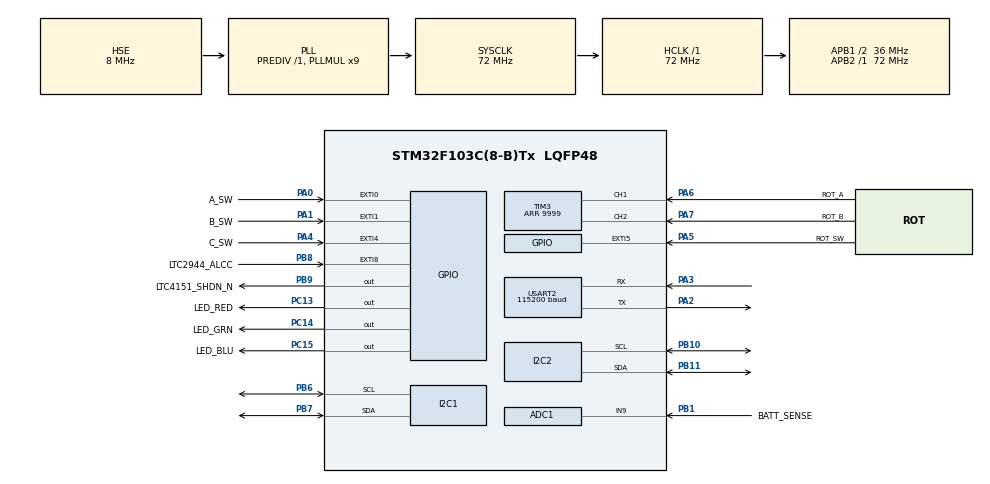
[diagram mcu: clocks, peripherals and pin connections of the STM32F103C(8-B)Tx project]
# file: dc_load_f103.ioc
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ADC1.Channel-3\#ChannelRegularConversion=ADC_CHANNEL_9
ADC1.ContinuousConvMode=ENABLE
ADC1.NbrOfConversion=1
ADC1.NbrOfConversionFlag=1
ADC1.Rank-3\#ChannelRegularConversion=1
ADC1.SamplingTime-3\#ChannelRegularConversion=ADC_SAMPLETIME_55CYCLES_5
ADC1.master=1
Dma.I2C1_TX.0.Direction=DMA_MEMORY_TO_PERIPH
Dma.I2C1_TX.0.Instance=DMA1_Channel6
Dma.I2C1_TX.0.MemDataAlignment=DMA_MDATAALIGN_BYTE
Dma.I2C1_TX.0.MemInc=DMA_MINC_ENABLE
Dma.I2C1_TX.0.Mode=DMA_NORMAL
Dma.I2C1_TX.0.PeriphDataAlignment=DMA_PDATAALIGN_BYTE
Dma.I2C1_TX.0.PeriphInc=DMA_PINC_DISABLE
Dma.I2C1_TX.0.Priority=DMA_PRIORITY_LOW
Dma.Request0=I2C1_TX
I2C2.I2C_Mode=I2C_Fast
Mcu.Family=STM32F1
Mcu.Name=STM32F103C(8-B)Tx
Mcu.Package=LQFP48
NVIC.DMA1_Channel6_IRQn=true\:0\:0\:false\:false\:true\:false\:true\:true
NVIC.EXTI0_IRQn=true\:0\:0\:false\:false\:true\:true\:true\:true
NVIC.EXTI1_IRQn=true\:0\:0\:false\:false\:true\:true\:true\:true
NVIC.EXTI4_IRQn=true\:0\:0\:false\:false\:true\:true\:true\:true
NVIC.EXTI9_5_IRQn=true\:0\:0\:false\:false\:true\:true\:true\:true
NVIC.I2C1_EV_IRQn=true\:0\:0\:false\:false\:true\:true\:true\:true
NVIC.PriorityGroup=NVIC_PRIORITYGROUP_4
NVIC.TIM3_IRQn=true\:0\:0\:false\:false\:true\:true\:true\:true
PA0-WKUP.GPIO_Label=A_SW
PA0-WKUP.Signal=GPXTI0
PA1.GPIO_Label=B_SW
PA1.Signal=GPXTI1
PA13.Mode=Serial_Wire
PA13.Signal=SYS_JTMS-SWDIO
PA14.Mode=Serial_Wire
PA14.Signal=SYS_JTCK-SWCLK
PA2.Mode=Asynchronous
PA2.Signal=USART2_TX
PA3.Mode=Asynchronous
PA3.Signal=USART2_RX
PA4.GPIO_Label=C_SW
PA4.Signal=GPXTI4
PA5.GPIO_Label=ROT_SW
PA5.GPIO_ModeDefaultEXTI=GPIO_MODE_IT_RISING
PA5.Signal=GPXTI5
PA6.GPIO_Label=ROT_A
PA6.Signal=S_TIM3_CH1
PA7.GPIO_Label=ROT_B
PA7.Signal=S_TIM3_CH2
PB1.GPIO_Label=BATT_SENSE
PB1.Signal=ADCx_IN9
PB10.Mode=I2C
PB10.Signal=I2C2_SCL
PB11.Mode=I2C
PB11.Signal=I2C2_SDA
PB6.Mode=I2C
PB6.Signal=I2C1_SCL
PB7.Mode=I2C
PB7.Signal=I2C1_SDA
PB8.GPIO_Label=LTC2944_ALCC
PB8.GPIO_ModeDefaultEXTI=GPIO_MODE_IT_FALLING
PB8.GPIO_PuPd=GPIO_PULLUP
PB8.Signal=GPXTI8
PB9.GPIO_Label=LTC4151_SHDN_N
PB9.Signal=GPIO_Output
PC13-TAMPER-RTC.GPIO_Label=LED_RED
PC13-TAMPER-RTC.Signal=GPIO_Output
PC14-OSC32_IN.GPIO_Label=LED_GRN
PC14-OSC32_IN.Signal=GPIO_Output
PC15-OSC32_OUT.GPIO_Label=LED_BLU
PC15-OSC32_OUT.Signal=GPIO_Output
PD0-OSC_IN.Mode=HSE-External-Oscillator
PD0-OSC_IN.Signal=RCC_OSC_IN
PD1-OSC_OUT.Mode=HSE-External-Oscillator
PD1-OSC_OUT.Signal=RCC_OSC_OUT
ProjectManager.HeapSize=0x200
ProjectManager.StackSize=0x400
ProjectManager.TargetToolchain=STM32CubeIDE
RCC.ADCPresc=RCC_ADCPCLK2_DIV6
RCC.AHBFreq_Value=72000000
RCC.APB1CLKDivider=RCC_HCLK_DIV2
RCC.APB1Freq_Value=36000000
RCC.APB1TimFreq_Value=72000000
RCC.APB2Freq_Value=72000000
RCC.APB2TimFreq_Value=72000000
RCC.HCLKFreq_Value=72000000
RCC.PLLMUL=RCC_PLL_MUL9
RCC.PLLSourceVirtual=RCC_PLLSOURCE_HSE
RCC.SYSCLKFreq_VALUE=72000000
RCC.SYSCLKSource=RCC_SYSCLKSOURCE_PLLCLK
RCC.USBFreq_Value=72000000
SH.ADCx_IN9.0=ADC1_IN9,IN9
SH.S_TIM3_CH1.0=TIM3_CH1,Encoder_Interface
SH.S_TIM3_CH2.0=TIM3_CH2,Encoder_Interface
TIM3.EncoderMode=TIM_ENCODERMODE_TI12
TIM3.IC1Filter=10
TIM3.Period=9999
USART2.BaudRate=115200
USART2.VirtualMode=VM_ASYNC
board=custom

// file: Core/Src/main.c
/* USER CODE BEGIN Header */
/**
  ******************************************************************************
  * @file           : main.c
  * @brief          : Main program body
  ******************************************************************************
  * @attention
  *
  * Copyright (c) 2023 STMicroelectronics.
  * All rights reserved.
  *
  * This software is licensed under terms that can be found in the LICENSE file
  * in the root directory of this software component.
  * If no LICENSE file comes with this software, it is provided AS-IS.
  *
  ******************************************************************************
  */
/* USER CODE END Header */
#include "main.h"
#include "adc.h"
#include "dma.h"
#include "i2c.h"
#include "tim.h"
#include "usart.h"
#include "gpio.h"

/* USER CODE BEGIN Includes */
#include <stdbool.h>
#include <stdio.h>
#include <string.h>
#include "../../ssd1306_oled_lib/inc/ssd1306.h"
#include "../../ssd1306_oled_lib/inc/ssd1306_tests.h"
//#include "../../ltc2944/ltc2944.h"
//#include "../../ltc4151/ltc4151.h"
#include "../../mcp4725/mcp4725.h"
#include "../../pid/pid.h"
#include "../../ltc2959/ltc2959.h"
#include "../../ad5693/ad5693.h"
#include "../../filter/filter.h"

/* USER CODE END Includes */

/* USER CODE BEGIN PD */
/*
 * MAXIMUM AND MINIMUM SETTINGS FOR LOAD
 */
#define MAX_CC_VALUE			5			// 5A maximum current
#define MIN_CC_VALUE			0.001		// 1mA minimum	current
#define MAX_CV_VALUE			30			// 30V maximum voltage
#define MIN_CV_VALUE			3			// 3V minimum voltage
#define MAX_CR_VALUE			10			// 10Ohm maximum resistance
#define MIN_CR_VALUE			0.1			// 100mOhm minimum resistance
#define MAX_CP_VALUE			99.999		// 99.999W maximum power CP is limited to 99.999Watt
#define MIN_CP_VALUE			1			// 1W minimum power

#define MAX_DIGITS 				6

/* USER CODE END PD */

/* USER CODE BEGIN PV */
uint32_t tick, prev_tick = 0;
uint16_t blink_delay = 50;
char stringValue[8];  // Adjust the buffer size as needed
int32_t curr, current = 0, filter_current = 0;
uint16_t sense_resistor = 5;		//8 milli-ohms
uint32_t voltage = 0, charge = 0;
int16_t temperature = 0;
uint8_t i, ret, i2c_add;
uint32_t desired_value, measured_value = 0;
MCP4725 myMCP4725;
uint16_t next_voltage;

uint16_t sec_prev = 0, seconds = 0;
uint8_t state;
uint8_t buf[2], status;
uint16_t control_volt;
uint32_t prev_print_delay = 0, print_delay = 100;
uint32_t prev_control_delay = 0, control_delay = 10;
bool battery_detect = false ;
uint32_t sensor_data[10];
uint8_t temp_val[6] = {5};

LTC2959_Config_t ltc2959 = {
    .ADC_mode		= 	CTRL_ADC_MODE_CONT_I,
    .GPIO_config 	= 	CTRL_GPIO_CONFIG_ANALOG_INPUT_1560mV,
    .voltage_input 	= 	CTRL_CONFIG_VOLTAGE_INPUT_SENSEN,
    .CC_deadband 	= 	CC_CONFIG_DEADBAND_20,
};

ad5693_configuration_t ad5693 = {
		.gain_x2 		= false,
		.ref_disable	= false,
		.mode 		= normal_mode,
};

// Define menu states
typedef enum {
	HOME_SCREEN,
	MODE_SELECTION,
	PARAMETER_SETTING,
	RETURN_TO_HOME
} Menu_State_e;

typedef struct {
	float voltage;
	float current;
	float power;
	float resistance;
} Param_Mode_t;

typedef struct {
	uint16_t set_voltage;
	uint16_t set_current;
	uint16_t set_power;
	uint16_t set_resistance;
} Set_Param_t;

Param_Mode_t param_mode = {0};
Set_Param_t set_param = {0};

Menu_State_e current_state = HOME_SCREEN;

uint32_t rotary_out, rot_pos, rot_cnt;

int cursor_position = 0;
int mode_index = -1;  // Store the index of mode setting
int mode_index_last = -1;
int last_cursor_position = -1;

float param_value = 0;
uint8_t digit_position = 0;
int last_rot_cnt = 0;
uint16_t sw_a_cnt = 0, sw_b_cnt = 0, sw_c_cnt = 0;
bool sw_rot_state = false,
		sw_a_state = false,
		sw_b_state = false,
		sw_c_state = false;
bool save_param = false;
bool adjusting_digit = false; // Flag to check if adjusting digit
volatile uint8_t digit_value = 0;
bool output_on_flag = false;
bool force_update;

uint16_t new_rot_pos, new_a_cnt ,new_b_cnt;
static uint16_t old_a_cnt = 0, old_b_cnt = 0, old_rot_pos = 0;

// 'ON', 140x81px
const unsigned char ON_BITMAP[] = { 0xff, 0xff, 0xff, 0xf8, 0xff, 0xff, 0xff,
		0xf8, 0xf8, 0x1f, 0x1f, 0x38, 0xf0, 0x0f, 0x0f, 0x38, 0xe1, 0xc7, 0x07,
		0x38, 0xe7, 0xe7, 0x07, 0x38, 0xc7, 0xe3, 0x03, 0x38, 0xc7, 0xe3, 0x23,
		0x38, 0xc7, 0xe3, 0x31, 0x38, 0xc7, 0xe3, 0x31, 0x38, 0xc7, 0xe3, 0x38,
		0x38, 0xc7, 0xe7, 0x38, 0x38, 0xe3, 0xc7, 0x3c, 0x38, 0xe0, 0x0f, 0x3e,
		0x38, 0xf8, 0x1f, 0x3e, 0x38, 0xff, 0xff, 0xff, 0xf8, 0xff, 0xff, 0xff,
		0xf8 };

// 'OFF', 29x16px
const unsigned char OFF_BITMAP[] = { 0xff, 0xff, 0xff, 0xf8, 0xff, 0xff, 0xff,
		0xf8, 0xe0, 0x78, 0x08, 0x08, 0xc0, 0x38, 0x08, 0x08, 0x87, 0x18, 0xf8,
		0xf8, 0x8f, 0x18, 0xf8, 0xf8, 0x8f, 0x88, 0xf8, 0xf8, 0x8f, 0x88, 0x18,
		0x18, 0x8f, 0x88, 0x18, 0x18, 0x8f, 0x98, 0xf8, 0xf8, 0x8f, 0x18, 0xf8,
		0xf8, 0x80, 0x18, 0xf8, 0xf8, 0xc0, 0x38, 0xf8, 0xf8, 0xf0, 0xf9, 0xfd,
		0xf8, 0xff, 0xff, 0xff, 0xf8, 0xff, 0xff, 0xff, 0xf8 };

/* USER CODE END PV */

void SystemClock_Config(void);
/* USER CODE BEGIN PFP */
void myOLED_char(uint16_t cursorX, uint16_t cursorY, char* data);
void myOLED_float(uint16_t cursorX, uint16_t cursorY, float data);
void myOLED_int16(uint16_t cursorX, uint16_t cursorY, uint16_t data);
void myOLED_int8(uint16_t cursorX, uint16_t cursorY, uint8_t data);
uint32_t Filter_Outliers(uint32_t* data, uint16_t length);

// Function Prototypes
void display_home_screen(bool force_update);
void display_mode_selection(bool force_update);
void display_parameter_setting(bool force_update);
void update_encoder_state();
void handle_button_press();
void update_display();
void update_digit_value(int direction);
void update_parameter_value(int direction); // function to update parameter value
void put_parameter_limit(void);				// put limit on parameter values
void Reset_Everything(void);
uint32_t concatenate(uint32_t x, uint32_t y);	// Concateate numbers

typedef enum
{
	IDLE 		= 0,
	BATT_CONN	= 1,
	RUN			= 2,
}device_state_t;

// UART printf stuff
#ifdef __GNUC__
#define PUTCHAR_PROTOTYPE int __io_putchar(int ch)
#else
#define PUTCHAR_PROTOTYPE int fputc(int ch, FILE *f)
#endif

PUTCHAR_PROTOTYPE
{
  HAL_UART_Transmit(&huart2, (uint8_t *)&ch, 1, HAL_MAX_DELAY);
  return ch;
}

/* USER CODE END PFP */

int main(void)
{

  /* MCU Configuration--------------------------------------------------------*/

  /* Reset of all peripherals, Initializes the Flash interface and the Systick. */
  HAL_Init();

  /* Configure the system clock */
  SystemClock_Config();

  /* Initialize all configured peripherals */
  MX_GPIO_Init();
  MX_DMA_Init();
  MX_I2C2_Init();
  MX_I2C1_Init();
  MX_ADC1_Init();
  MX_USART2_UART_Init();
  MX_TIM3_Init();
  /* USER CODE BEGIN 2 */
  HAL_TIM_Encoder_Start_IT(&htim3, TIM_CHANNEL_ALL);

  ssd1306_Init();
  HAL_ADCEx_Calibration_Start(&hadc1);
  HAL_Delay(100);
  HAL_ADC_Start(&hadc1);

  printf("LTC2959 Begin\n\r");
//  while(HAL_I2C_IsDeviceReady(&LTC2959_I2C_PORT, LTC2959_I2C_ADDR, 100, 1000) != HAL_OK);	// wait for it to come alive
  LTC2959_Init(&ltc2959);
  HAL_Delay(100);

  AD5693_Reset();
  HAL_Delay(10);
  AD5693_Init(ad5693);
  HAL_Delay(10);

//  myOLED_char(1, 12, "Volt = ");
//  myOLED_char(1, 24, "Curr = ");
//  myOLED_char(1, 36, "Chg  = ");
//  myOLED_char(1, 48, "Temp = ");
  ssd1306_UpdateScreen();
  HAL_Delay(100);

//  for(i = 1; i < 127; i++){
//	  ret = HAL_I2C_IsDeviceReady(&hi2c1, (uint16_t)(i), 3, 5);
//	  if (ret == HAL_OK) /* No ACK Received At That Address */
//	  {
//		  printf("%x \n\r", i);
//		  i2c_add = i;
//		  HAL_Delay(1000);
//	  }
//  	}	  HAL_Delay(20000);

  /* USER CODE END 2 */

  /* Infinite loop */
  /* USER CODE BEGIN WHILE */

  printf("RUNNING\n");
//  printf("%ld\n", concatenate(12,354));

  while (1)
  {
	  tick = HAL_GetTick();

	  update_display();
	  update_encoder_state();
	  handle_button_press();
	  set_param.set_current = param_mode.current * 1000;

//	  myOLED_int16(1, 2, tick);
    /* USER CODE END WHILE */

    /* USER CODE BEGIN 3 */
	  HAL_ADC_PollForConversion(&hadc1, 10);
  	  if(HAL_ADC_GetValue(&hadc1) >= 200){
  		  battery_detect = true;
  	  }else if(HAL_ADC_GetValue(&hadc1) < 200){
  		  battery_detect = false;
  	  }

      for (uint8_t i = 0; i < 10; i++) {
          sensor_data[i] = LTC2959_Get_Current();
      }

	  current = LTC2959_Get_Current();
  	  filter_current = Get_Current_Filtered(current);

/*
      if(tick - prev_control_delay >= control_delay){
		  voltage = LTC2959_Get_Voltage();
		  current = LTC2959_Get_Current();
		  charge = LTC2959_Get_Acc_Charge();
		  control_volt = Control_DAC_Output(500, current, battery_detect);
		  AD5693_Set_Voltage_Raw(control_volt);
		  prev_control_delay = tick;
	  }
*/

	  switch(state){
	  case IDLE:
		  if(battery_detect){
			  state = BATT_CONN;
		  }else{
			  HAL_GPIO_WritePin(LED_RED_GPIO_Port, LED_RED_Pin, RESET);
			  myOLED_char(50, 24, "        ");	// print empty spaces in curr
			  myOLED_char(50, 36, "       ");	// print empty spaces in chg
			  myOLED_char(50, 48, "  ");		// print empty spaces in temp
			  myOLED_int8(50, 2, 0);
			  // Resets the seconds count every time battery is removed
			  if(seconds > 1){
				  seconds = 0;
			  }
		  }
		  break;

	  case BATT_CONN:
		  HAL_GPIO_WritePin(LED_RED_GPIO_Port, LED_RED_Pin, SET); 		// Turn on RED led for indication
		  state = RUN;
		  break;

	  case RUN:
		  /*
		  * test timer for run condition
		  */
		  if(tick - sec_prev >= 1000){		// 1000ms = 1 sec
			  sec_prev = tick;
			  myOLED_int16(50, 2, seconds++);
		  }
		  if(battery_detect){
			  // print the battery values on oled screen
				  break;
//			  }
		  }else{
			  state = IDLE;
		  }
		  break;

	  default:
	  }

	  if(tick - prev_tick >= blink_delay){
		  prev_tick = tick;
		  HAL_GPIO_TogglePin(LED_BLU_GPIO_Port, LED_BLU_Pin);
	  }
  }

  /* USER CODE END 3 */
}

void SystemClock_Config(void)
{
  RCC_OscInitTypeDef RCC_OscInitStruct = {0};
  RCC_ClkInitTypeDef RCC_ClkInitStruct = {0};
  RCC_PeriphCLKInitTypeDef PeriphClkInit = {0};

  /** Initializes the RCC Oscillators according to the specified parameters
  * in the RCC_OscInitTypeDef structure.
  */
  RCC_OscInitStruct.OscillatorType = RCC_OSCILLATORTYPE_HSE;
  RCC_OscInitStruct.HSEState = RCC_HSE_ON;
  RCC_OscInitStruct.HSEPredivValue = RCC_HSE_PREDIV_DIV1;
  RCC_OscInitStruct.HSIState = RCC_HSI_ON;
  RCC_OscInitStruct.PLL.PLLState = RCC_PLL_ON;
  RCC_OscInitStruct.PLL.PLLSource = RCC_PLLSOURCE_HSE;
  RCC_OscInitStruct.PLL.PLLMUL = RCC_PLL_MUL9;
  if (HAL_RCC_OscConfig(&RCC_OscInitStruct) != HAL_OK)
  {
    Error_Handler();
  }

  /** Initializes the CPU, AHB and APB buses clocks
  */
  RCC_ClkInitStruct.ClockType = RCC_CLOCKTYPE_HCLK|RCC_CLOCKTYPE_SYSCLK
                              |RCC_CLOCKTYPE_PCLK1|RCC_CLOCKTYPE_PCLK2;
  RCC_ClkInitStruct.SYSCLKSource = RCC_SYSCLKSOURCE_PLLCLK;
  RCC_ClkInitStruct.AHBCLKDivider = RCC_SYSCLK_DIV1;
  RCC_ClkInitStruct.APB1CLKDivider = RCC_HCLK_DIV2;
  RCC_ClkInitStruct.APB2CLKDivider = RCC_HCLK_DIV1;

  if (HAL_RCC_ClockConfig(&RCC_ClkInitStruct, FLASH_LATENCY_2) != HAL_OK)
  {
    Error_Handler();
  }
  PeriphClkInit.PeriphClockSelection = RCC_PERIPHCLK_ADC;
  PeriphClkInit.AdcClockSelection = RCC_ADCPCLK2_DIV6;
  if (HAL_RCCEx_PeriphCLKConfig(&PeriphClkInit) != HAL_OK)
  {
    Error_Handler();
  }
}

/* USER CODE BEGIN 4 */

void HAL_TIM_IC_CaptureCallback(TIM_HandleTypeDef *htim){
	rotary_out = __HAL_TIM_GET_COUNTER(htim);
	rot_cnt = rotary_out / 4;
}

void HAL_GPIO_EXTI_Callback(uint16_t GPIO_Pin){
	switch(GPIO_Pin){
	case ROT_SW_Pin:
		sw_rot_state = true;
		if(current_state == PARAMETER_SETTING){
			save_param = true;	 	// raise the flag for saving param
		}else{
			save_param = false;
		}
		break;
	case A_SW_Pin:
		sw_a_state = true;
		sw_a_cnt++;
		break;
	case B_SW_Pin:
		sw_b_state = true;
		sw_b_cnt++;
		break;
	case C_SW_Pin:
		sw_c_state = true;
		sw_c_cnt++;
		break;
	default:
		break;
	}
}

void myOLED_char(uint16_t cursorX, uint16_t cursorY, char *data){

	ssd1306_SetCursor(cursorX, cursorY);
	ssd1306_WriteString(data, Font_7x10, White);
}

void myOLED_char_big(uint16_t cursorX, uint16_t cursorY, char *data){

	ssd1306_SetCursor(cursorX, cursorY);
	ssd1306_WriteString(data, Font_11x18, White);
}

void myOLED_float(uint16_t cursorX, uint16_t cursorY, float data){
	char str_data[10];

	sprintf(str_data, "%.3f", data);
	ssd1306_SetCursor(cursorX, cursorY);
	ssd1306_WriteString(str_data, Font_7x10, White);
}

void myOLED_float_big(uint16_t cursorX, uint16_t cursorY, float data){
	char str_data[10];

	sprintf(str_data, "%.3f", data);
	ssd1306_SetCursor(cursorX, cursorY);
	ssd1306_WriteString(str_data, Font_11x18, White);
}

void myOLED_int16(uint16_t cursorX, uint16_t cursorY, uint16_t data){
	char str_data[10];

	sprintf(str_data, "%u", data);
	ssd1306_SetCursor(cursorX, cursorY);
	ssd1306_WriteString(str_data, Font_7x10, White);
}

void myOLED_int8(uint16_t cursorX, uint16_t cursorY, uint8_t data){
	char str_data[10];

	sprintf(str_data, "%d", data);
	ssd1306_SetCursor(cursorX, cursorY);
	ssd1306_WriteString(str_data, Font_7x10, White);
}

// Update Display
void update_display(){
	static Menu_State_e last_state = HOME_SCREEN;
	static bool first_update = true;
	force_update = (current_state != last_state) || first_update || !output_on_flag;

	if(force_update){
		last_state = current_state;
		last_cursor_position = -1; // Force full update on state change
		first_update = false;
	}

	// Handle cursor position updates separately
	bool cursor_changed = (cursor_position != last_cursor_position);

	switch(current_state){
	case HOME_SCREEN:
		display_home_screen(force_update || cursor_changed);
		break;
	case MODE_SELECTION:
		display_mode_selection(force_update || cursor_changed);
		break;
	case PARAMETER_SETTING:
		display_parameter_setting(force_update || cursor_changed);
		break;
	case RETURN_TO_HOME:
		current_state = HOME_SCREEN;
		break;
	default:
		break;
	}
	last_cursor_position = cursor_position;
}

// Display Home Screen
void display_home_screen(bool force_update){
	if(force_update || output_on_flag){
		ssd1306_Fill(Black);			// Clear the display before printing
		myOLED_char_big(0, 0, "V:");
		myOLED_float_big(21, 0, voltage);
		myOLED_char_big(0, 18, "C:");
		myOLED_float_big(21, 18, curr);
		myOLED_char_big(0, 36, "Q:");
		myOLED_float_big(21, 36, charge);
		myOLED_char(0, 54, "t:");
		myOLED_int16(15, 54, temperature);
		ssd1306_Line(78, 0, 78, 50, White);	// Draw line to separate the values and options
		myOLED_char(90, 0, "<SET>");			// SET MODE
		myOLED_char(90, 10, "<ON>");			// Turn ON LOAD
		myOLED_char(90, 20, "<RST>");			// Reset the LOAD

		// Show ON or OFF bitmap on display for LOAD status
		if(output_on_flag){
//			output_on_flag = false;									// Change the flag state
			myOLED_char(90, 10, "<OFF>");							// Print OFF in ON position if button is pressed
			ssd1306_DrawBitmap(90, 31, ON_BITMAP, 29, 16, White);	//	Draw ON bitmap
		}else{
			ssd1306_DrawBitmap(90, 31, OFF_BITMAP, 29, 16, White);	// Draw OFF bitmap
		}
	}

	// Update cursor only
	uint8_t scroll_num = 3;
	for(int i = 0; i < scroll_num; i++){
		if(i == cursor_position){
			myOLED_char(82, i * 10, ">");
		}else{
			myOLED_char(82, i * 10, " ");
		}
	}

	// Display the param value and mode if it is set
	if(((current_state == HOME_SCREEN) || save_param) || force_update){
		uint8_t x_mode = 50;
		uint8_t y_mode = 54;
		uint8_t x_val = 80;
		uint8_t y_val = 54;

		ssd1306_Line(45, y_mode, 45, 64, White);		// Draw line
		switch(mode_index){
		case 0:
			myOLED_char(x_mode, y_mode, "CC:");
			myOLED_float(x_val, y_val, param_mode.current);
			break;
		case 1:
			myOLED_char(x_mode, y_mode, "CV:");
			myOLED_float(x_val, y_val, param_mode.voltage);
			break;
		case 2:
			myOLED_char(x_mode, y_mode, "CP:");
			myOLED_float(x_val, y_val, param_mode.power);
			break;
		case 3:
			myOLED_char(x_mode, y_mode, "CR:");
			myOLED_float(x_val, y_val, param_mode.resistance);
			break;
		default:
			break;
		}
	}

	ssd1306_UpdateScreen();
}

// Display Mode Selection Screen
void display_mode_selection(bool force_update){
	const char *modes[] = { "CC", "CV", "CP", "CR" };
	if(force_update){
		ssd1306_Fill(Black); // Clear the screen
		for(int i = 0; i < 4; i++){
			myOLED_char(15, i * 10, (char*) modes[i]); // Print modes in column
		}
	}

	// Update cursor only
	uint8_t num_of_modes = 4;
	for(int i = 0; i < num_of_modes; i++){
		if(i == cursor_position){
			myOLED_char(0, i * 10, "->");
		}else{
			myOLED_char(0, i * 10, "  ");
		}
	}

	myOLED_char(5, 50, "<SELECT THE MODE>");
	ssd1306_UpdateScreen();
}

void display_parameter_setting(bool force_update){
	if(force_update){
		// Redraw entire screen if forced
		ssd1306_Fill(Black);
		myOLED_char(5, 0, "Set Value:");

		// Check the state and print the mode in parameter setting screen
		if(current_state == PARAMETER_SETTING){
			myOLED_char(5, 42, "MIN:");
			myOLED_char(5, 52, "MAX:");
			switch(mode_index){
			case 0:
				myOLED_char(70, 0, "CC");
				myOLED_char(70, 20, "mAmp");
				myOLED_float(35, 42, (float)MIN_CC_VALUE);
				myOLED_float(35, 52, (float)MAX_CC_VALUE);
				break;
			case 1:
				myOLED_char(70, 0, "CV");
				myOLED_char(70, 20, "Volt");
				myOLED_float(35, 42, (float)MIN_CV_VALUE);
				myOLED_float(35, 52, (float)MAX_CV_VALUE);
				break;
			case 2:
				myOLED_char(70, 0, "CP");
				myOLED_char(70, 20, "Watt");
				myOLED_float(35, 42, (float)MIN_CP_VALUE);
				myOLED_float(35, 52, (float)MAX_CP_VALUE);
				break;
			case 3:
				myOLED_char(70, 0, "CR");
				myOLED_char(70, 20, "Ohm");
				myOLED_float(35, 42, (float)MIN_CR_VALUE);
				myOLED_float(35, 52, (float)MAX_CR_VALUE);
				break;
			default:
				break;
			}
		}
	}

//	temp_val[0] =
//	float display_value;

//	for(uint8_t i = 0; i < sizeof(temp_val); i++){
//		for(uint8_t j = 1; j <= sizeof(temp_val); j++){
//			myOLED_int8(7*j, 20, temp_val[0]);
//		}
//	}

//	myOLED_int16(5, 20, display_value);
//	printf("display value: %d", display_value);
	// Display the value with proper formatting
	if(param_value >= 10.000){
		myOLED_float(0, 20, param_value);
	}else{
		myOLED_float(7, 20, param_value);
		myOLED_int16(0, 20, 0);  // Print "0" at the first location
	}

	// Clear previous cursor position by redrawing the entire line
	myOLED_char(0, 30, "         ");
	// Draw cursor under the digit
	uint8_t cursor_x;
	cursor_x = digit_position * 7;		// 7 pixels width per character
	myOLED_char(cursor_x , 30, "^");  	// Draw the cursor

	// Refresh the display after updating
	ssd1306_UpdateScreen();
}

// Update Encoder State
void update_encoder_state(){
	new_rot_pos = rot_cnt;

	if(new_rot_pos > old_rot_pos){
		if(current_state == PARAMETER_SETTING){
			if(adjusting_digit){
				update_parameter_value(1); // Increment digit
			}
		}else{
			cursor_position++;
		}
	}else if(new_rot_pos < old_rot_pos){
		if(current_state == PARAMETER_SETTING){
			if(adjusting_digit){
				update_parameter_value(-1); // Decrement digit
			}
		}else{
			cursor_position--;
		}
	}
	old_rot_pos = new_rot_pos;

	// Put limit on parameters and assign param_value
	// to specified mode
	put_parameter_limit();

	printf("param_value limit: %f\n\r\v", param_value);

	// putting limits
	if(cursor_position < 0)
		cursor_position = 0;
	if(current_state == HOME_SCREEN && cursor_position > 2)
		cursor_position = 2;
	if(current_state == MODE_SELECTION && cursor_position > 3)
		cursor_position = 3;
	if(current_state == PARAMETER_SETTING && digit_position > MAX_DIGITS)
		digit_position = 0;
}

void update_parameter_value(int direction) {
    // Convert the whole value to an integer, treating it as 00.000
    int full_value = (int)(param_value * 1000);

    // Extract individual digits
    int digits[5]; // [tens, ones, tenths, hundredths, thousandths]
    digits[0] = (full_value / 10000) % 10;     // tens
    digits[1] = (full_value / 1000) % 10;      // ones
    digits[2] = (full_value / 100) % 10;       // tenths
    digits[3] = (full_value / 10) % 10;        // hundredths
    digits[4] = full_value % 10;               // thousandths

    // Skip if we're at the decimal point position
    if (digit_position == 2) {
        return;
    }

    // Map cursor position to array index
    int digit_index = (digit_position < 2) ? digit_position : digit_position - 1;

    // Update the selected digit
    digits[digit_index] += direction;

    // Handle propagation and wrapping
    for (int i = digit_index; i >= 0; i--) {
        if (digits[i] > 9) {
            digits[i] = 0;
            if (i > 0) {
                digits[i-1]++;  // Carry over to the next digit
            }
        } else if (digits[i] < 0) {
            digits[i] = 9;
            if (i > 0) {
                digits[i-1]--;  // Borrow from the next digit
            }
        } else {
            break;  // Stop if no further propagation needed
        }
    }

    // Reconstruct the value
    full_value = digits[0] * 10000 +
                 digits[1] * 1000 +
                 digits[2] * 100 +
                 digits[3] * 10 +
                 digits[4];

    printf("full_value: %d\n\r", full_value);
    // Convert back to floating-point
    param_value = full_value / 1000.0;
}

// Put limit on parameter value
void put_parameter_limit(){
	// RESET the param_value if mode is changed
	if(mode_index_last != mode_index){
		param_value = 0;
		mode_index_last = mode_index;
	}

	// check the MIN and MAX value of each mode to set limits on the value.
	if(current_state == PARAMETER_SETTING){
		switch(mode_index){
		case 0:
			if(param_value >= MAX_CC_VALUE){
				param_value = MAX_CC_VALUE;
			}else if(param_value <= MIN_CC_VALUE){
				param_value = MIN_CC_VALUE;
			}
			if(save_param){
				param_mode.current = param_value;
				printf("current: %f\n\r", param_mode.current);

			}
			break;
		case 1:
			if(param_value >= MAX_CV_VALUE){
				param_value = MAX_CV_VALUE;
			}else if(param_value <= MIN_CV_VALUE){
				param_value = MIN_CV_VALUE;
			}
			if(save_param){
				param_mode.voltage = param_value;
				printf("voltage: %f\n\r", param_mode.voltage);
			}
			break;
		case 2:
			if(param_value >= MAX_CP_VALUE){
				param_value = MAX_CP_VALUE;
			}else if(param_value <= MIN_CP_VALUE){
				param_value = MIN_CP_VALUE;
			}
			if(save_param){
				param_mode.power = param_value;
				printf("power: %f\n\r", param_mode.power);}
			break;
		case 3:
			if(param_value >= MAX_CR_VALUE){
				param_value = MAX_CR_VALUE;
			}else if(param_value <= MIN_CR_VALUE){
				param_value = MIN_CR_VALUE;
			}
			if(save_param){
				param_mode.resistance= param_value;
				printf("resistance: %f\n\r", param_mode.resistance);
			}
			break;
		default:
			break;
		}
	}
}

void handle_button_press(){
	new_a_cnt = sw_a_cnt;
	new_b_cnt = sw_b_cnt;

	// Handle the EXIT button
	if(sw_c_state){
		if((current_state == MODE_SELECTION )||(current_state == PARAMETER_SETTING)){
			current_state = HOME_SCREEN;
			save_param = false;
			sw_c_state = false;
			Reset_Everything();
		}else if((current_state == HOME_SCREEN) && (cursor_position == 1)){
			Reset_Everything();
			sw_c_state = false;
		}
	}

	if(sw_rot_state){
		switch(current_state){
		case HOME_SCREEN:
			if(cursor_position == 0){
				current_state = MODE_SELECTION;		// GoTo MODE SELECTION PAGE
				output_on_flag = false;				// turn off when page is changed
			}else if((cursor_position == 1) && (!output_on_flag)){
				output_on_flag = true;
				// Handle "TURN ON" functionality
			}else if((cursor_position == 1) && output_on_flag){
				output_on_flag = false;
				force_update = true;
				// Handle "TURN ON" functionality
			}else if(cursor_position == 2){		// Reset everything
				Reset_Everything();
			}
			adjusting_digit = false;			// Disable adjusting in param setting
			break;
		case MODE_SELECTION:
			current_state = PARAMETER_SETTING;			// go to next state
			mode_index = cursor_position;
			cursor_position = 0;
			digit_position = 0;
			adjusting_digit = false;
			break;
		case PARAMETER_SETTING:
//			if(sw_rot_state){		// Return to home by saving param value
			current_state = RETURN_TO_HOME;
			digit_position = 0;
//			save_param = false;
//			}
			break;
		default:
			break;
		}
		sw_rot_state = false; // Reset button state
	}

	// Move cursor under the digits
	if(current_state == PARAMETER_SETTING) {
		adjusting_digit = true;
	}else adjusting_digit = false;

	if(new_b_cnt > old_b_cnt){
		digit_position++;
	}else if(new_a_cnt > old_a_cnt) {
		digit_position--;
	}
	old_b_cnt = new_b_cnt;
	old_a_cnt = new_a_cnt;
}

void Reset_Everything(void){
	current_state = HOME_SCREEN;	// not necessary to reset current_state
	cursor_position = 0;
	mode_index = -1;
	param_value = 0.0;
	output_on_flag = false;
	save_param = false;
	memset(&param_mode, 0, sizeof(param_mode));
	memset(&set_param, 0, sizeof(set_param));
}

uint32_t concatenate(uint32_t x, uint32_t y) {
    uint16_t pow = 1000;  		// For decimal places of 0.000
    if(y){
        while(y >= pow){
        pow *= 10;
        }
        return x * pow + y;
    }else{
        return x;
    }
}

/* USER CODE END 4 */

void Error_Handler(void)
{
  __disable_irq();
  while (1)
  {
  }
}
